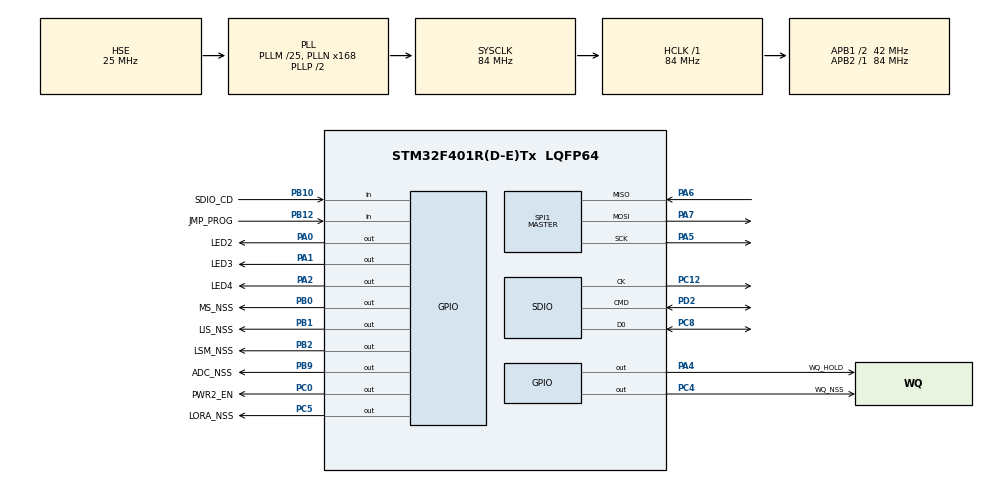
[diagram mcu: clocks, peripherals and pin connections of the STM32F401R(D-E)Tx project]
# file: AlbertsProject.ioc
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FATFS.BSP.number=1
FATFS0.BSP.STBoard=false
FATFS0.BSP.api=Unknown
FATFS0.BSP.instance=PB10
FATFS0.BSP.ip=GPIO
FATFS0.BSP.mode=Input
FATFS0.BSP.name=Detect_SDIO
FATFS0.BSP.solution=PB10
Mcu.Family=STM32F4
Mcu.Name=STM32F401R(D-E)Tx
Mcu.Package=LQFP64
NVIC.PriorityGroup=NVIC_PRIORITYGROUP_4
PA0-WKUP.GPIO_Label=LED2
PA0-WKUP.Signal=GPIO_Output
PA1.GPIO_Label=LED3
PA1.Signal=GPIO_Output
PA13.Mode=Serial_Wire
PA13.Signal=SYS_JTMS-SWDIO
PA14.Mode=Serial_Wire
PA14.Signal=SYS_JTCK-SWCLK
PA2.GPIO_Label=LED4
PA2.Signal=GPIO_Output
PA4.GPIO_Label=WQ_HOLD
PA4.PinState=GPIO_PIN_SET
PA4.Signal=GPIO_Output
PA5.Mode=Full_Duplex_Master
PA5.Signal=SPI1_SCK
PA6.Mode=Full_Duplex_Master
PA6.Signal=SPI1_MISO
PA7.Mode=Full_Duplex_Master
PA7.Signal=SPI1_MOSI
PB0.GPIO_Label=MS_NSS
PB0.PinState=GPIO_PIN_SET
PB0.Signal=GPIO_Output
PB1.GPIO_Label=LIS_NSS
PB1.PinState=GPIO_PIN_SET
PB1.Signal=GPIO_Output
PB10.GPIO_Label=SDIO_CD
PB10.Signal=GPIO_Input
PB12.GPIO_Label=JMP_PROG
PB12.Signal=GPIO_Input
PB2.GPIO_Label=LSM_NSS
PB2.PinState=GPIO_PIN_SET
PB2.Signal=GPIO_Output
PB9.GPIO_Label=ADC_NSS
PB9.PinState=GPIO_PIN_SET
PB9.Signal=GPIO_Output
PC0.GPIO_Label=PWR2_EN
PC0.PinState=GPIO_PIN_SET
PC0.Signal=GPIO_Output
PC12.Mode=SD_1_bit
PC12.Signal=SDIO_CK
PC14-OSC32_IN.Mode=LSE-External-Oscillator
PC14-OSC32_IN.Signal=RCC_OSC32_IN
PC15-OSC32_OUT.Mode=LSE-External-Oscillator
PC15-OSC32_OUT.Signal=RCC_OSC32_OUT
PC4.GPIO_Label=WQ_NSS
PC4.PinState=GPIO_PIN_SET
PC4.Signal=GPIO_Output
PC5.GPIO_Label=LORA_NSS
PC5.PinState=GPIO_PIN_SET
PC5.Signal=GPIO_Output
PC8.GPIO_PuPd=GPIO_PULLUP
PC8.Mode=SD_1_bit
PC8.Signal=SDIO_D0
PD2.GPIO_PuPd=GPIO_PULLUP
PD2.Mode=SD_1_bit
PD2.Signal=SDIO_CMD
PH0\ -\ OSC_IN.Mode=HSE-External-Oscillator
PH0\ -\ OSC_IN.Signal=RCC_OSC_IN
PH1\ -\ OSC_OUT.Mode=HSE-External-Oscillator
PH1\ -\ OSC_OUT.Signal=RCC_OSC_OUT
ProjectManager.HeapSize=0x200
ProjectManager.StackSize=0x400
ProjectManager.TargetToolchain=STM32CubeIDE
RCC.48MHZClocksFreq_Value=42000000
RCC.AHBFreq_Value=84000000
RCC.APB1CLKDivider=RCC_HCLK_DIV2
RCC.APB1Freq_Value=42000000
RCC.APB1TimFreq_Value=84000000
RCC.APB2Freq_Value=84000000
RCC.APB2TimFreq_Value=84000000
RCC.CortexFreq_Value=84000000
RCC.HCLKFreq_Value=84000000
RCC.HSE_VALUE=25000000
RCC.HSI_VALUE=16000000
RCC.PLLM=25
RCC.PLLN=168
RCC.PLLSourceVirtual=RCC_PLLSOURCE_HSE
RCC.SYSCLKFreq_VALUE=84000000
RCC.SYSCLKSource=RCC_SYSCLKSOURCE_PLLCLK
RCC.VCOOutputFreq_Value=168000000
SPI1.BaudRatePrescaler=SPI_BAUDRATEPRESCALER_16
SPI1.Direction=SPI_DIRECTION_2LINES
SPI1.Mode=SPI_MODE_MASTER
SPI1.VirtualType=VM_MASTER
VP_FATFS_VS_SDIO.Mode=SDIO
board=custom

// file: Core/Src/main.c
/* USER CODE BEGIN Header */
/**
 ******************************************************************************
 * @file           : main.c
 * @brief          : Main program body
 ******************************************************************************
 * @attention
 *
 * Copyright (c) 2024 STMicroelectronics.
 * All rights reserved.
 *
 * This software is licensed under terms that can be found in the LICENSE file
 * in the root directory of this software component.
 * If no LICENSE file comes with this software, it is provided AS-IS.
 *
 ******************************************************************************
 */
/* USER CODE END Header */
#include "main.h"
#include "fatfs.h"

/* USER CODE BEGIN Includes */
#include <stdio.h>
#include <stdbool.h>

/* USER CODE END Includes */

SD_HandleTypeDef hsd;

SPI_HandleTypeDef hspi1;

/* USER CODE BEGIN PV */
uint32_t MS_Data[2];
int16_t LSM_Data[6];
int sizeOfBufferToLora = 100;
int32_t seaLvlPress;
int32_t beforAlt;
uint8_t toStart = 100;
uint32_t timeToSend = 0;
uint32_t timeToWrite = 0;
uint16_t roverFreq = 434; // !!!!!!!!---- YZNAT' CHASTOTY ----!!!!!!!!
const char filename[] = "SULOG.csv";

struct {
	uint32_t time;
	int32_t alt;
	int32_t press;
	int32_t temp;
	int32_t accel1;
	int32_t accel2;
	int32_t accel3;
	int32_t gyro1;
	int32_t gyro2;
	int32_t gyro3;
	bool flagStart;
	bool flagApag;
	bool flagLand;

} SensorsData;

enum {
	START,
	FLY,
	LAND
} mode;

FATFS FatFs;
FIL Fil;
FRESULT FR_Status;
FATFS *FS_Ptr;
UINT RWC, WWC;
DWORD FreeClusters;
FILINFO FileInfo;
/* USER CODE END PV */

void SystemClock_Config(void);
static void MX_GPIO_Init(void);
static void MX_SPI1_Init(void);
static void MX_SDIO_SD_Init(void);
/* USER CODE BEGIN PFP */
void cheakAll(void);
void initVariables(void);
void readData(void);
void writeData(void);
void recieveTransmitData(void);

/* USER CODE END PFP */

int main(void) {

	/* MCU Configuration--------------------------------------------------------*/

	/* Reset of all peripherals, Initializes the Flash interface and the Systick. */
	HAL_Init();

	/* Configure the system clock */
	SystemClock_Config();

	/* Initialize all configured peripherals */
	MX_GPIO_Init();
	MX_SPI1_Init();
	MX_SDIO_SD_Init();
	MX_FATFS_Init();
	/* USER CODE BEGIN 2 */

	cheakAll();
	initVariables();
	/* USER CODE END 2 */

	/* Infinite loop */
	/* USER CODE BEGIN WHILE */
	while (1) {

		readData();

		writeData();

		recieveTransmitData();

		HAL_GPIO_TogglePin(LED2_GPIO_Port, LED2_Pin);

		/* USER CODE END WHILE */

	}
}

void SystemClock_Config(void) {
	RCC_OscInitTypeDef RCC_OscInitStruct = { 0 };
	RCC_ClkInitTypeDef RCC_ClkInitStruct = { 0 };

	/** Configure the main internal regulator output voltage
	 */
	__HAL_RCC_PWR_CLK_ENABLE();
	__HAL_PWR_VOLTAGESCALING_CONFIG(PWR_REGULATOR_VOLTAGE_SCALE2);

	/** Initializes the RCC Oscillators according to the specified parameters
	 * in the RCC_OscInitTypeDef structure.
	 */
	RCC_OscInitStruct.OscillatorType = RCC_OSCILLATORTYPE_HSE;
	RCC_OscInitStruct.HSEState = RCC_HSE_ON;
	RCC_OscInitStruct.PLL.PLLState = RCC_PLL_ON;
	RCC_OscInitStruct.PLL.PLLSource = RCC_PLLSOURCE_HSE;
	RCC_OscInitStruct.PLL.PLLM = 25;
	RCC_OscInitStruct.PLL.PLLN = 168;
	RCC_OscInitStruct.PLL.PLLP = RCC_PLLP_DIV2;
	RCC_OscInitStruct.PLL.PLLQ = 4;
	if (HAL_RCC_OscConfig(&RCC_OscInitStruct) != HAL_OK) {
		Error_Handler();
	}

	/** Initializes the CPU, AHB and APB buses clocks
	 */
	RCC_ClkInitStruct.ClockType = RCC_CLOCKTYPE_HCLK | RCC_CLOCKTYPE_SYSCLK
			| RCC_CLOCKTYPE_PCLK1 | RCC_CLOCKTYPE_PCLK2;
	RCC_ClkInitStruct.SYSCLKSource = RCC_SYSCLKSOURCE_PLLCLK;
	RCC_ClkInitStruct.AHBCLKDivider = RCC_SYSCLK_DIV1;
	RCC_ClkInitStruct.APB1CLKDivider = RCC_HCLK_DIV2;
	RCC_ClkInitStruct.APB2CLKDivider = RCC_HCLK_DIV1;

	if (HAL_RCC_ClockConfig(&RCC_ClkInitStruct, FLASH_LATENCY_2) != HAL_OK) {
		Error_Handler();
	}
}

static void MX_SDIO_SD_Init(void) {

	hsd.Instance = SDIO;
	hsd.Init.ClockEdge = SDIO_CLOCK_EDGE_RISING;
	hsd.Init.ClockBypass = SDIO_CLOCK_BYPASS_DISABLE;
	hsd.Init.ClockPowerSave = SDIO_CLOCK_POWER_SAVE_DISABLE;
	hsd.Init.BusWide = SDIO_BUS_WIDE_1B;
	hsd.Init.HardwareFlowControl = SDIO_HARDWARE_FLOW_CONTROL_DISABLE;
	hsd.Init.ClockDiv = 0;

}

static void MX_SPI1_Init(void) {

	/* SPI1 parameter configuration*/
	hspi1.Instance = SPI1;
	hspi1.Init.Mode = SPI_MODE_MASTER;
	hspi1.Init.Direction = SPI_DIRECTION_2LINES;
	hspi1.Init.DataSize = SPI_DATASIZE_8BIT;
	hspi1.Init.CLKPolarity = SPI_POLARITY_LOW;
	hspi1.Init.CLKPhase = SPI_PHASE_1EDGE;
	hspi1.Init.NSS = SPI_NSS_SOFT;
	hspi1.Init.BaudRatePrescaler = SPI_BAUDRATEPRESCALER_16;
	hspi1.Init.FirstBit = SPI_FIRSTBIT_MSB;
	hspi1.Init.TIMode = SPI_TIMODE_DISABLE;
	hspi1.Init.CRCCalculation = SPI_CRCCALCULATION_DISABLE;
	hspi1.Init.CRCPolynomial = 10;
	if (HAL_SPI_Init(&hspi1) != HAL_OK) {
		Error_Handler();
	}

}

static void MX_GPIO_Init(void) {
	GPIO_InitTypeDef GPIO_InitStruct = { 0 };

	/* GPIO Ports Clock Enable */
	__HAL_RCC_GPIOC_CLK_ENABLE();
	__HAL_RCC_GPIOH_CLK_ENABLE();
	__HAL_RCC_GPIOA_CLK_ENABLE();
	__HAL_RCC_GPIOB_CLK_ENABLE();
	__HAL_RCC_GPIOD_CLK_ENABLE();

	/*Configure GPIO pin Output Level */
	HAL_GPIO_WritePin(GPIOC, PWR2_EN_Pin | WQ_NSS_Pin | LORA_NSS_Pin,
			GPIO_PIN_SET);

	/*Configure GPIO pin Output Level */
	HAL_GPIO_WritePin(GPIOA, LED2_Pin | LED3_Pin | LED4_Pin, GPIO_PIN_RESET);

	/*Configure GPIO pin Output Level */
	HAL_GPIO_WritePin(WQ_HOLD_GPIO_Port, WQ_HOLD_Pin, GPIO_PIN_SET);

	/*Configure GPIO pin Output Level */
	HAL_GPIO_WritePin(GPIOB,
	MS_NSS_Pin | LIS_NSS_Pin | LSM_NSS_Pin | ADC_NSS_Pin, GPIO_PIN_SET);

	/*Configure GPIO pins : PWR2_EN_Pin WQ_NSS_Pin LORA_NSS_Pin */
	GPIO_InitStruct.Pin = PWR2_EN_Pin | WQ_NSS_Pin | LORA_NSS_Pin;
	GPIO_InitStruct.Mode = GPIO_MODE_OUTPUT_PP;
	GPIO_InitStruct.Pull = GPIO_NOPULL;
	GPIO_InitStruct.Speed = GPIO_SPEED_FREQ_LOW;
	HAL_GPIO_Init(GPIOC, &GPIO_InitStruct);

	/*Configure GPIO pins : LED2_Pin LED3_Pin LED4_Pin WQ_HOLD_Pin */
	GPIO_InitStruct.Pin = LED2_Pin | LED3_Pin | LED4_Pin | WQ_HOLD_Pin;
	GPIO_InitStruct.Mode = GPIO_MODE_OUTPUT_PP;
	GPIO_InitStruct.Pull = GPIO_NOPULL;
	GPIO_InitStruct.Speed = GPIO_SPEED_FREQ_LOW;
	HAL_GPIO_Init(GPIOA, &GPIO_InitStruct);

	/*Configure GPIO pins : MS_NSS_Pin LIS_NSS_Pin LSM_NSS_Pin ADC_NSS_Pin */
	GPIO_InitStruct.Pin = MS_NSS_Pin | LIS_NSS_Pin | LSM_NSS_Pin | ADC_NSS_Pin;
	GPIO_InitStruct.Mode = GPIO_MODE_OUTPUT_PP;
	GPIO_InitStruct.Pull = GPIO_NOPULL;
	GPIO_InitStruct.Speed = GPIO_SPEED_FREQ_LOW;
	HAL_GPIO_Init(GPIOB, &GPIO_InitStruct);

	/*Configure GPIO pins : SDIO_CD_Pin JMP_PROG_Pin */
	GPIO_InitStruct.Pin = SDIO_CD_Pin | JMP_PROG_Pin;
	GPIO_InitStruct.Mode = GPIO_MODE_INPUT;
	GPIO_InitStruct.Pull = GPIO_NOPULL;
	HAL_GPIO_Init(GPIOB, &GPIO_InitStruct);

}

/* USER CODE BEGIN 4 */

void writeSD(char *str) {
	f_open(&Fil, filename, FA_OPEN_ALWAYS | FA_WRITE);

	f_lseek(&Fil, f_size(&Fil));
	HAL_Delay(5);
	f_puts(str, &Fil);
	HAL_Delay(15);
	f_close(&Fil);
}

void readData() {
	MS_ReadData(MS_Data);
	LSM_ReadData(LSM_Data);

	beforAlt = SensorsData.alt;

	SensorsData.time = HAL_GetTick();
	SensorsData.press = MS_Data[0];
	SensorsData.alt = (int32_t) 4433000
			* (1.0f - pow((float) SensorsData.press / seaLvlPress, 0.1903)); //(int32_t) ((SensorsData.press - seaLvlPress) / 133.32239023154 * 10.5 * 100);
	SensorsData.temp = MS_Data[1];
	SensorsData.accel1 = LSM_Data[3];
	SensorsData.accel2 = LSM_Data[4];
	SensorsData.accel3 = LSM_Data[5];
	SensorsData.gyro1 = LSM_Data[0];
	SensorsData.gyro2 = LSM_Data[1];
	SensorsData.gyro3 = LSM_Data[2];

	if (SensorsData.alt > toStart) {
		SensorsData.flagStart = true;
		mode = FLY;
	}
	if (SensorsData.alt == beforAlt && SensorsData.flagStart) {
		SensorsData.flagApag = true;
	}

	if ((SensorsData.alt < 200 || SensorsData.alt == beforAlt)
			&& SensorsData.flagApag) {
		SensorsData.flagLand = true;
		mode = LAND;
	}
}

void writeData() {

	if (HAL_GetTick() - timeToWrite >= 100) {

		char buffer[sizeOfBufferToLora];

		snprintf(buffer, sizeOfBufferToLora,
				"%s;%ld;%ld;%ld;%ld;%ld;%ld;%ld;%ld;%ld;%ld;%d;%d;%d;\n", "SU",
				SensorsData.time, SensorsData.alt, SensorsData.press,
				SensorsData.temp, SensorsData.accel1, SensorsData.accel2,
				SensorsData.accel3, SensorsData.gyro1, SensorsData.gyro2,
				SensorsData.gyro3, SensorsData.flagStart, SensorsData.flagApag,
				SensorsData.flagLand);

		writeSD(buffer);

		timeToWrite = HAL_GetTick();
	}

	if (HAL_GetTick() - timeToSend >= 1000) {

		int cutPacketSize = sizeOfBufferToLora / 3;

		char bufferToLoRa1[cutPacketSize];
		char bufferToLoRa2[cutPacketSize];
		char bufferToLoRa3[cutPacketSize];

		int sizeOfSnprintf1 = snprintf(bufferToLoRa1, cutPacketSize,
				"%s;%ld;%ld;", "SU", SensorsData.time, SensorsData.alt);
		int sizeOfSnprintf2 = snprintf(bufferToLoRa2, cutPacketSize,
				"%ld;%ld;%ld;%ld;", SensorsData.press, SensorsData.temp,
				SensorsData.accel1, SensorsData.accel2);
		int sizeOfSnprintf3 = snprintf(bufferToLoRa3, cutPacketSize,
				"%ld;%d;%d;%d;", SensorsData.accel3, SensorsData.flagStart,
				SensorsData.flagApag, SensorsData.flagLand);

		LORA_TransmitData(bufferToLoRa1, sizeOfSnprintf1);
		LORA_TransmitData(bufferToLoRa2, sizeOfSnprintf2);
		LORA_TransmitData(bufferToLoRa3, sizeOfSnprintf3);

//		int sizeOfSnprintf = snprintf(bufferToLoRa, sizeOfBufferToLora,
//				"%s;%ld;%ld;%ld;%ld;%ld;%ld;%ld;%d;%d;%d;\n", "SU",
//				SensorsData.time, SensorsData.alt, SensorsData.press,
//				SensorsData.temp, SensorsData.accel1, SensorsData.accel2,
//				SensorsData.accel3, SensorsData.flagStart, SensorsData.flagApag,
//				SensorsData.flagLand);
		//
//		LORA_TransmitData(buffer, sizeOfSnprintf);
		timeToSend = HAL_GetTick();
	}

}

void recieveTransmitData() {
	uint8_t recieveData[10];
	uint32_t size = LORA_ReceiveData(recieveData);
	if (size) {
		char transmitData[10];
		for (int i = 0; i < 10; i++) {
			transmitData[i] = (char) recieveData[i];
		}
		LORA_ChangeFreq(roverFreq);
		LORA_TransmitData(transmitData, 10);
		LORA_ChangeFreq(433);
		writeSD("transmit to rover\n");
	}

}

void cheakAll() {
	LED2_GPIO_Port->ODR |= LED2_Pin;
	LED3_GPIO_Port->ODR |= LED3_Pin;
	LED4_GPIO_Port->ODR |= LED4_Pin;

	HAL_Delay(500);

	LED2_GPIO_Port->ODR &= ~LED2_Pin;
	LED3_GPIO_Port->ODR &= ~LED3_Pin;
	LED4_GPIO_Port->ODR &= ~LED4_Pin;

	FR_Status = f_mount(&FatFs, SDPath, 1);

	if (FR_Status != FR_OK) {
		HAL_GPIO_TogglePin(LED3_GPIO_Port, LED3_Pin);
		HAL_Delay(300);
		HAL_GPIO_TogglePin(LED3_GPIO_Port, LED3_Pin);
		HAL_Delay(300);
		HAL_GPIO_TogglePin(LED3_GPIO_Port, LED3_Pin);
		HAL_Delay(300);
		HAL_GPIO_TogglePin(LED3_GPIO_Port, LED3_Pin);
		HAL_Delay(300);
		HAL_GPIO_TogglePin(LED3_GPIO_Port, LED3_Pin);
		HAL_Delay(300);
		HAL_GPIO_TogglePin(LED3_GPIO_Port, LED3_Pin);

	}

	f_unlink(filename);

	f_open(&Fil, filename, FA_CREATE_ALWAYS | FA_WRITE);
	f_puts("Start SETUP\n", &Fil);
	f_close(&Fil);

	writeSD("SD GOOD\n");

	if (LORA_Init(&hspi1, LORA_NSS_GPIO_Port, LORA_NSS_Pin)) {
		HAL_GPIO_TogglePin(LED3_GPIO_Port, LED3_Pin);
		HAL_Delay(1000);
		HAL_GPIO_TogglePin(LED3_GPIO_Port, LED3_Pin);
	} else {
		writeSD("LoRa GOOD\n");
	}

	MS_Init(&hspi1, MS_NSS_GPIO_Port, MS_NSS_Pin);

	if (LSM_Init(&hspi1, LSM_NSS_GPIO_Port, LSM_NSS_Pin)) {
		HAL_GPIO_TogglePin(LED3_GPIO_Port, LED3_Pin);
		HAL_Delay(300);
		HAL_GPIO_TogglePin(LED3_GPIO_Port, LED3_Pin);
		HAL_Delay(300);
		HAL_GPIO_TogglePin(LED3_GPIO_Port, LED3_Pin);
		HAL_Delay(300);
		HAL_GPIO_TogglePin(LED3_GPIO_Port, LED3_Pin);
	} else {
		writeSD("LSM GOOD\n");
	}

	writeSD("Start LOOP\n");

	writeSD(
			"name;time;height;pressure;temperature;accel_x;accel_y;accel_z;gyro_x;gyro_y;gyro_z;flag_start;flag_apag;flag_land;\n");

}

void initVariables() {
	MS_ReadData(MS_Data);
	seaLvlPress = MS_Data[0];
	SensorsData.flagStart = false;
	SensorsData.flagApag = false;
	SensorsData.flagLand = false;
	mode = START;
}

/* USER CODE END 4 */

void Error_Handler(void) {
	__disable_irq();
	while (1) {
	}
}
